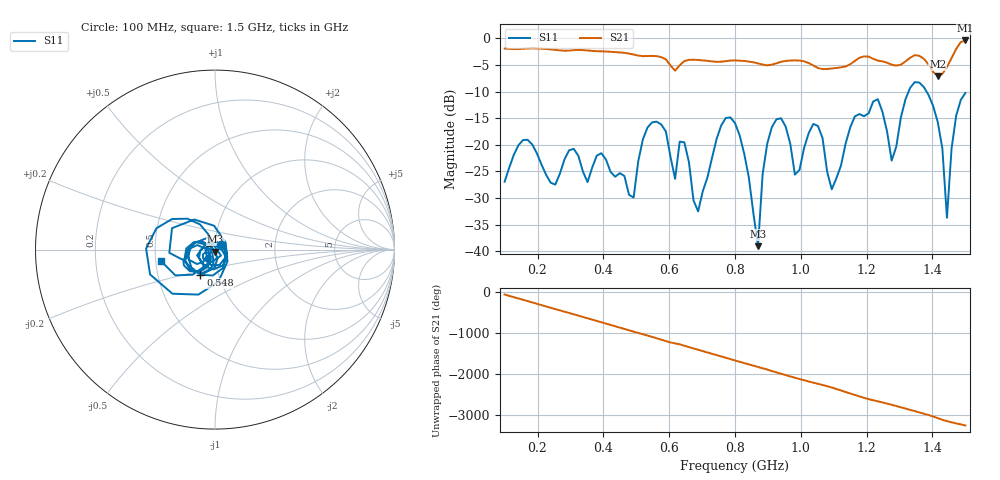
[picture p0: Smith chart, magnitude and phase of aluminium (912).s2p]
! NanoVNA-App
! Date: 2025-09-25 15:02:23
! Start: 100MHz Stop: 1,5GHz Points: 101
! S-Parameter data: F S11 S21 S12 S22
# Hz S RI R 50
!  Frequency  S11_Real  S11_Imag  S21_Real  S21_Imag  S12_Real  S12_Imag  S22_Real  S22_Imag
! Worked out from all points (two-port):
!   101 points, 100 MHz to 1.5 GHz, reference 50 ohm
!   highest |S21| = -0.41 dB at 1.5 GHz (marker M1); lowest = -7.1 dB at 1.416 GHz (marker M2)
!   |S21| within 3 dB of the highest: start of sweep to 565.7 MHz; 1.46 GHz to end of sweep (the widest 2 of 4)
!   lowest |S11| = -39.1 dB at 870 MHz (marker M3), VSWR 1.02, Z = 50.2 - j1.1 ohm
!   |S11| at or under -10 dB: start of sweep to 1.328 GHz; 1.382 GHz to end of sweep
!   S12 and S22 are empty: the file has one direction only
!   S11 on the Smith chart (normalised r, x): 100 MHz: 1.07, +0.06; 548 MHz: 0.82, -0.24; 1.5 GHz: 0.53, -0.08
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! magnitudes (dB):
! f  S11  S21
! 100 MHz  -27.0  -1.9
! 156 MHz  -19.1  -2.0
! 338 MHz  -25.0  -2.2
! 492 MHz  -29.9  -3.1
! 548 MHz  -15.8  -3.3
! 576 MHz  -16.2  -3.5
! 618 MHz  -26.4  -6.1
! 646 MHz  -19.5  -4.3
! 688 MHz  -32.5  -4.1
! 800 MHz  -15.9  -4.1
! 870 MHz  -39.1  -4.7
! 912 MHz  -16.7  -4.9
! 982 MHz  -25.6  -4.1
! 1.038 GHz  -16.1  -5.1
! 1.094 GHz  -28.4  -5.7
! 1.22 GHz  -11.9  -3.9
! 1.276 GHz  -23.0  -5.0
! 1.346 GHz  -8.2  -3.2
! 1.416 GHz  -15.7  -7.1
! 1.444 GHz  -33.7  -5.4
! 1.472 GHz  -14.5  -2.0
! 1.5 GHz  -10.3  -0.4
